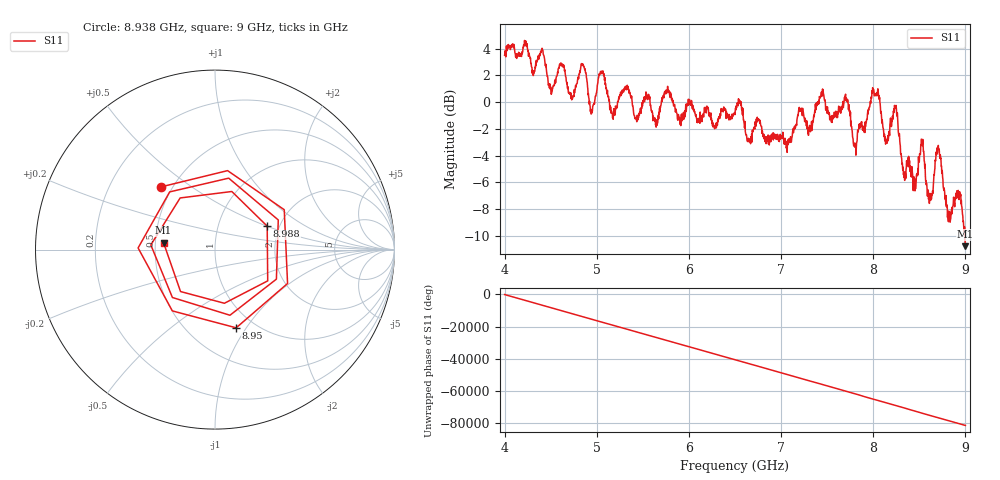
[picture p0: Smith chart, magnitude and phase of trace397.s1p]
! Created with skrf 1.8.0 (http://scikit-rf.org).
# Hz S RI R 50.0
!freq ReS11 ImS11
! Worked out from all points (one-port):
!   1601 points, 4 GHz to 9 GHz, reference 50 ohm
!   lowest |S11| = -10.8 dB at 9 GHz (marker M1), VSWR 1.81, Z = 27.7 + j2.3 ohm
!   |S11| at or under -10 dB: 8.992958 GHz to end of sweep
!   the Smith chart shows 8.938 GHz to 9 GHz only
!   S11 on the Smith chart (normalised r, x): 8.938 GHz: 0.43, +0.38; 8.95 GHz: 0.82, -0.90; 8.988 GHz: 1.73, +0.50; 9 GHz: 0.55, +0.05
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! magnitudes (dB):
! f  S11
! 4 GHz  3.5
! 4.409 GHz  4.0
! 4.509 GHz  0.6
! 4.625 GHz  2.7
! 4.728 GHz  0.2
! 4.856 GHz  2.7
! 4.944 GHz  -0.8
! 5.047 GHz  2.1
! 5.166 GHz  -0.8
! 5.25 GHz  0.5
! 5.875 GHz  -1.3
! 6.5 GHz  -0.9
! 7.125 GHz  -2.2
! 7.441 GHz  0.4
! 7.75 GHz  -1.0
! 7.803 GHz  -3.4
! 8.028 GHz  0.6
! 8.141 GHz  -3.1
! 8.244 GHz  -0.4
! 8.375 GHz  -4.5
! 8.528 GHz  -3.0
! 8.625 GHz  -7.2
! 8.706 GHz  -3.2
! 8.819 GHz  -8.2
! 8.938 GHz  -6.7
! 8.95 GHz  -6.9
! 8.988 GHz  -9.9
! 9 GHz  -10.8
